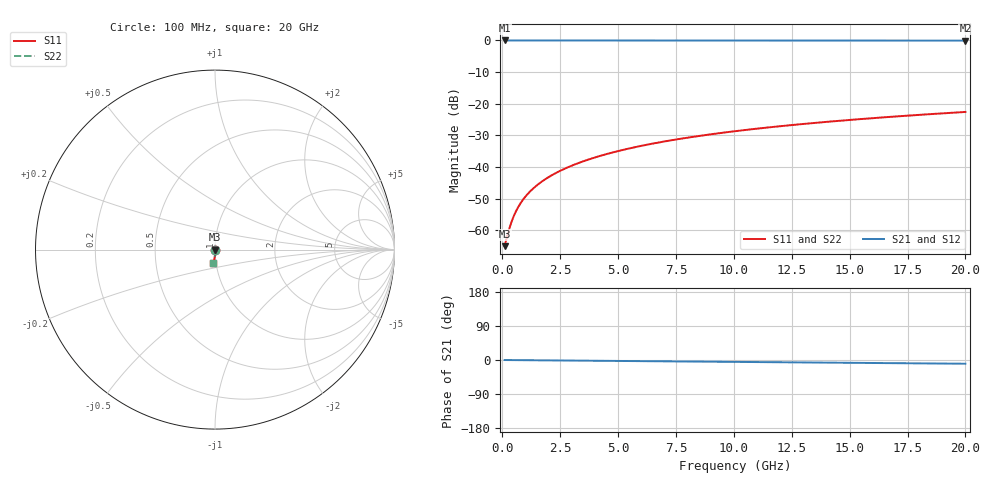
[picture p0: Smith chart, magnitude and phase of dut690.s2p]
! Touchstone file exported from HFSS 2026.1.0
!  File:  C:/ffzhzh/LocalFiles/Ansys_Project_Files/temp_train_TSV_690_1783027616_51716.aedt
!  Generated:  05:28:48 AM Jul  3, 2026
!  Design:  TSV
!  Project:  temp_train_TSV_690_1783027616_51716
! Variables:
!  h_bsmrdl = 2um
!  h_ox = 20um
!  h_rdl = 5um
!  h_sub = 98.39um
!  h_tmrdl = 5um
!  h_tsv = 98.39um
!  h_via = 3um
!  l_bsmrdl = 300um
!  l_sub = 410.12um
!  l_tmrdl = 200um
!  m_sub = 200um
!  pitch = 13.93um
!  r_tsv = 5.06um
!  s_tmrdl = 10um
!  w_bsmrdl = 18um
!  w_sub = 500um
!  w_tmrdl = 12um
!  x_tsv_center1 = 206um
!  x_tsv_center2 = 524um
!  x_tsv_center3 = 736um
!  x_tsv_center4 = 1054um
!  x_tsv_center5 = 1266um
!  x_tsv_center6 = 1584um
# GHz S MA R 50.000000
! Terminal data exported
! Port[1] = TSV1_1_T1
! Port[2] = TSV1_1_T2
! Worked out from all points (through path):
!   200 points, 100 MHz to 20 GHz, reference 50 ohm
!   highest |S21| = 0.00 dB at 100 MHz (marker M1); lowest = -0.1 dB at 20 GHz (marker M2)
!   group delay of S21, straight-line fit = 1.36 ps
!   lowest |S11| = -65.0 dB at 100 MHz (marker M3), VSWR 1.00, Z = 50 - j0.0277 ohm
!   |S11| at or under -10 dB: start of sweep to end of sweep
!   |S22| runs from -65.0 to -22.6 dB; largest |S21 - S12| = 2.3e-15
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0.1  0.0005615 -29.5  0.9995 -0.1  0.9995 -0.1  0.0005615 -29.5
! Gamma 0 0 0 0
! Port Impedance 50 0 50 0
0.3  0.001054 -57.0  0.9994 -0.2  0.9994 -0.2  0.001054 -57.0
0.4  0.001365 -63.1  0.9994 -0.2  0.9994 -0.2  0.001365 -63.1
0.5  0.001693 -67.2  0.9993 -0.3  0.9993 -0.3  0.001693 -67.2
0.6  0.00203 -70.2  0.9993 -0.3  0.9993 -0.3  0.00203 -70.2
0.8  0.002717 -74.4  0.9992 -0.4  0.9992 -0.4  0.002717 -74.4
1.1  0.00376 -78.1  0.9992 -0.6  0.9992 -0.6  0.00376 -78.1
1.3  0.004459 -79.7  0.9991 -0.7  0.9991 -0.7  0.004459 -79.7
1.5  0.005161 -80.9  0.9991 -0.8  0.9991 -0.8  0.005161 -80.9
1.8  0.006218 -82.2  0.999 -0.9  0.999 -0.9  0.006218 -82.2
2.1  0.00728 -83.2  0.999 -1.1  0.999 -1.1  0.00728 -83.2
2.7  0.009425 -84.5  0.9988 -1.4  0.9988 -1.4  0.009425 -84.5
3.5  0.01232 -85.7  0.9986 -1.8  0.9986 -1.8  0.01232 -85.7
4.2  0.01489 -86.5  0.9984 -2.1  0.9984 -2.1  0.01489 -86.5
5  0.01785 -87.3  0.9982 -2.5  0.9982 -2.5  0.01785 -87.3
5.9  0.02121 -88.1  0.998 -3.0  0.998 -3.0  0.02121 -88.1
6.8  0.02458 -88.9  0.9978 -3.4  0.9978 -3.4  0.02458 -88.9
8.3  0.03023 -90.1  0.9974 -4.1  0.9974 -4.1  0.03023 -90.1
10.1  0.037 -91.3  0.9969 -5.0  0.9969 -5.0  0.037 -91.3
13.4  0.04942 -93.5  0.996 -6.6  0.996 -6.6  0.04942 -93.5
16.7  0.06181 -95.4  0.995 -8.2  0.995 -8.2  0.06181 -95.4
20  0.07419 -97.2  0.9938 -9.8  0.9938 -9.8  0.07419 -97.2
